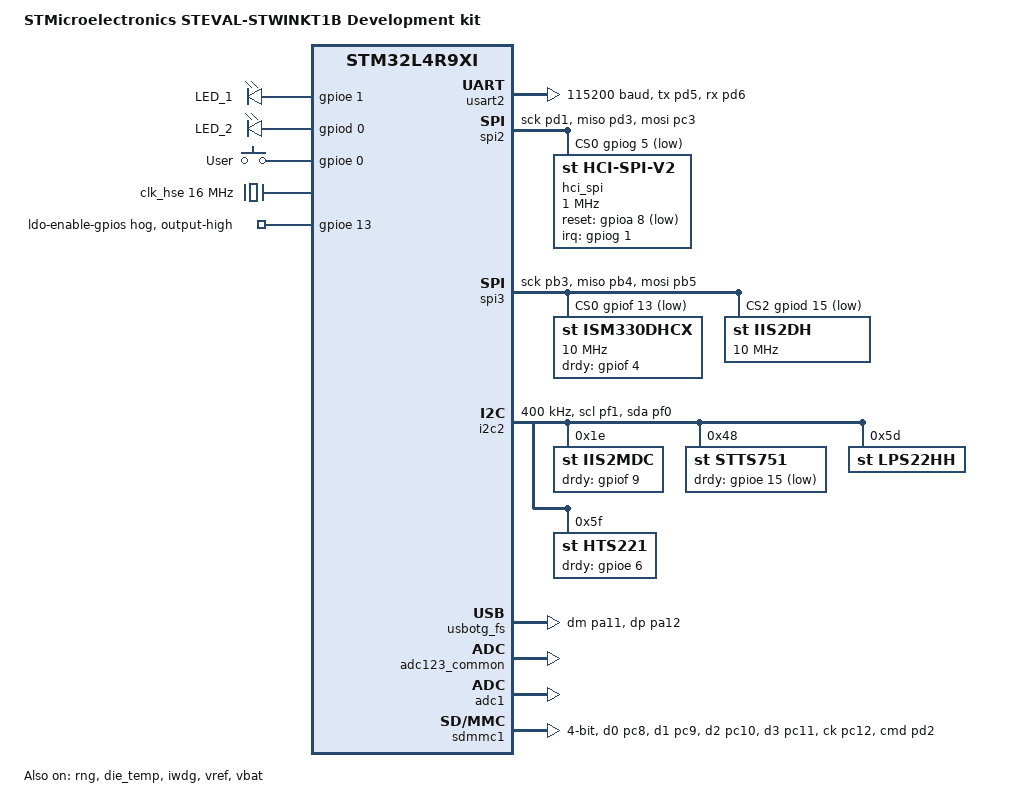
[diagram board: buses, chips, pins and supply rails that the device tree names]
/*
 * Copyright The Zephyr Project Contributors
 *
 * SPDX-License-Identifier: Apache-2.0
 */

/dts-v1/;
#include <st/l4/stm32l4r9Xi.dtsi>
#include <st/l4/stm32l4r9z(g-i)jx-pinctrl.dtsi>
#include <zephyr/dt-bindings/input/input-event-codes.h>

/ {
	compatible = "st,steval_stwinkt1b";
	model = "STMicroelectronics STEVAL-STWINKT1B Development kit";

	chosen {
		zephyr,sram = &sram0;
		zephyr,flash = &flash0;
		zephyr,code-partition = &slot0_partition;

		zephyr,bt-hci = &hci_spi;
	};

	leds {
		compatible = "gpio-leds";

		green_led: led_1 {
			gpios = <&gpioe 1 GPIO_ACTIVE_HIGH>;
			label = "LED_1";
		};

		orange_led: led_2 {
			gpios = <&gpiod 0 GPIO_ACTIVE_HIGH>;
			label = "LED_2";
		};
	};

	gpio_keys {
		compatible = "gpio-keys";

		user_button: button {
			label = "User";
			gpios = <&gpioe 0 GPIO_ACTIVE_HIGH>;
			zephyr,code = <INPUT_KEY_0>;
		};
	};

	aliases {
		accel0 = &iis2dh;
		led0 = &green_led;
		led1 = &orange_led;
		sw0 = &user_button;
		mcuboot-led0 = &green_led;
		mcuboot-button0 = &user_button;
		watchdog0 = &iwdg;
		die-temp0 = &die_temp;
		volt-sensor0 = &vref;
		volt-sensor1 = &vbat;
	};
};

&clk_hsi48 {
	status = "okay";
};

&clk_hse {
	clock-frequency = <DT_FREQ_M(16)>;
	status = "okay";
};

&clk_lse {
	status = "okay";
};

&pll {
	div-m = <4>;
	mul-n = <40>;
	div-p = <7>;
	div-q = <4>;
	div-r = <2>;
	clocks = <&clk_hse>;
	status = "okay";
};

&rcc {
	clocks = <&pll>;
	clock-frequency = <DT_FREQ_M(80)>;
	ahb-prescaler = <1>;
	apb1-prescaler = <1>;
	apb2-prescaler = <1>;
};

&gpioe {
	status = "okay";

	/* Enable 2.7V Analog LDO */
	ldo-enable-gpios {
		gpio-hog;
		gpios = <13 GPIO_ACTIVE_HIGH>;
		output-high;
	};
};

&usart2 {
	pinctrl-0 = <&usart2_tx_pd5 &usart2_rx_pd6>;
	pinctrl-names = "default";
	current-speed = <115200>;
	status = "okay";
};

&spi2 {
	pinctrl-0 = <&spi2_sck_pd1 &spi2_miso_pd3 &spi2_mosi_pc3>;
	pinctrl-names = "default";
	cs-gpios = <&gpiog 5 GPIO_ACTIVE_LOW>;
	status = "okay";

	hci_spi: bluenrg-m2@0 {
		compatible = "st,hci-spi-v2";
		reg = <0>;
		reset-gpios = <&gpioa 8 GPIO_ACTIVE_LOW>;
		irq-gpios = <&gpiog 1 (GPIO_ACTIVE_HIGH | GPIO_PULL_DOWN)>;
		spi-cpha; /* CPHA=1 */
		spi-hold-cs;
		spi-max-frequency = <DT_FREQ_M(1)>;
		reset-assert-duration-ms = <6>;
	};
};

&spi3 {
	pinctrl-0 = <&spi3_sck_pb3 &spi3_miso_pb4 &spi3_mosi_pb5>;
	pinctrl-names = "default";

	cs-gpios = <&gpiof 13 GPIO_ACTIVE_LOW>,
		   <&gpiof 5 GPIO_ACTIVE_LOW>,
		   <&gpiod 15 GPIO_ACTIVE_LOW>;
	status = "okay";

	ism330dhcx: ism330dhcx@0 {
		compatible = "st,ism330dhcx";
		reg = <0>;
		spi-max-frequency = <DT_FREQ_M(10)>;
		drdy-gpios = <&gpiof 4 (GPIO_ACTIVE_HIGH | GPIO_PULL_DOWN)>;
		int-pin = <2>;
	};

	/*
	 * IIS3DWB is present on SPI3 CS1 (PF5), INT1=PE14, INT2=PB2.
	 * The Zephyr driver is async/RTIO-only; leave disabled for sync samples.
	 */
	iis3dwb: iis3dwb@1 {
		compatible = "st,iis3dwb";
		reg = <1>;
		spi-max-frequency = <DT_FREQ_M(10)>;
		int1-gpios = <&gpioe 14 (GPIO_ACTIVE_HIGH | GPIO_PULL_DOWN)>;
		int2-gpios = <&gpiob 2 (GPIO_ACTIVE_HIGH | GPIO_PULL_DOWN)>;
		status = "disabled";
	};

	iis2dh: iis2dh@2 {
		compatible = "st,iis2dh";
		reg = <2>;
		spi-max-frequency = <DT_FREQ_M(10)>;
	};
};

&i2c2 {
	pinctrl-0 = <&i2c2_scl_pf1 &i2c2_sda_pf0>;
	pinctrl-names = "default";
	scl-gpios = <&gpiof 1 GPIO_ACTIVE_HIGH>;
	sda-gpios = <&gpiof 0 GPIO_ACTIVE_HIGH>;
	clock-frequency = <I2C_BITRATE_FAST>;
	status = "okay";

	iis2mdc@1e {
		compatible = "st,iis2mdc";
		reg = <0x1e>;
		drdy-gpios = <&gpiof 9 GPIO_ACTIVE_HIGH>;
		status = "okay";
	};

	stts751@48 {
		compatible = "st,stts751";
		reg = <0x48>;
		drdy-gpios = <&gpioe 15 GPIO_ACTIVE_LOW>;
		status = "okay";
	};

	lps22hh@5d {
		compatible = "st,lps22hh";
		reg = <0x5d>;
		status = "okay";
	};

	hts221@5f {
		compatible = "st,hts221";
		reg = <0x5f>;
		drdy-gpios = <&gpioe 6 GPIO_ACTIVE_HIGH>;
		status = "okay";
	};
};

&rng {
	/* Change clock source to avoid using MSI */
	clocks = <&rcc STM32_CLOCK(AHB2, 18)>,
		 <&rcc STM32_SRC_PLL_Q CLK48_SEL(2)>;
	status = "okay";
};

zephyr_udc0: &usbotg_fs {
	pinctrl-0 = <&usb_otg_fs_dm_pa11 &usb_otg_fs_dp_pa12>;
	pinctrl-names = "default";
	status = "okay";
};

#include <../boards/common/usb/cdc_acm_serial.dtsi>

&adc123_common {
	st,adc-clock-source = "SYNC";
	st,adc-prescaler = <1>;
	status = "okay";
};

&adc1 {
	status = "okay";
};

&die_temp {
	status = "okay";
};

&iwdg {
	status = "okay";
};

&vref {
	status = "okay";
};

&vbat {
	status = "okay";
};

&sdmmc1 {
	pinctrl-0 = <&sdmmc1_d0_pc8 &sdmmc1_d1_pc9
		     &sdmmc1_d2_pc10 &sdmmc1_d3_pc11
		     &sdmmc1_ck_pc12 &sdmmc1_cmd_pd2>;
	pinctrl-names = "default";
	cd-gpios = <&gpiob 12 GPIO_ACTIVE_LOW>;
	bus-width = <4>;
	clk-div = <4>;
	disk-name = "SD";
	status = "okay";
};

&flash0 {
	partitions {
		ranges;
		#address-cells = <1>;
		#size-cells = <1>;

		boot_partition: partition@0 {
			compatible = "zephyr,mapped-partition";
			reg = <0x00000000 DT_SIZE_K(64)>;
			label = "mcuboot";
		};

		slot0_partition: partition@10000 {
			compatible = "zephyr,mapped-partition";
			reg = <0x00010000 DT_SIZE_K(416)>;
			label = "image-0";
		};

		slot1_partition: partition@78000 {
			compatible = "zephyr,mapped-partition";
			reg = <0x00078000 DT_SIZE_K(424)>;
			label = "image-1";
		};

		storage_partition: partition@f0000 {
			compatible = "zephyr,mapped-partition";
			reg = <0x000f0000 DT_SIZE_K(64)>;
			label = "storage";
		};
	};
};
